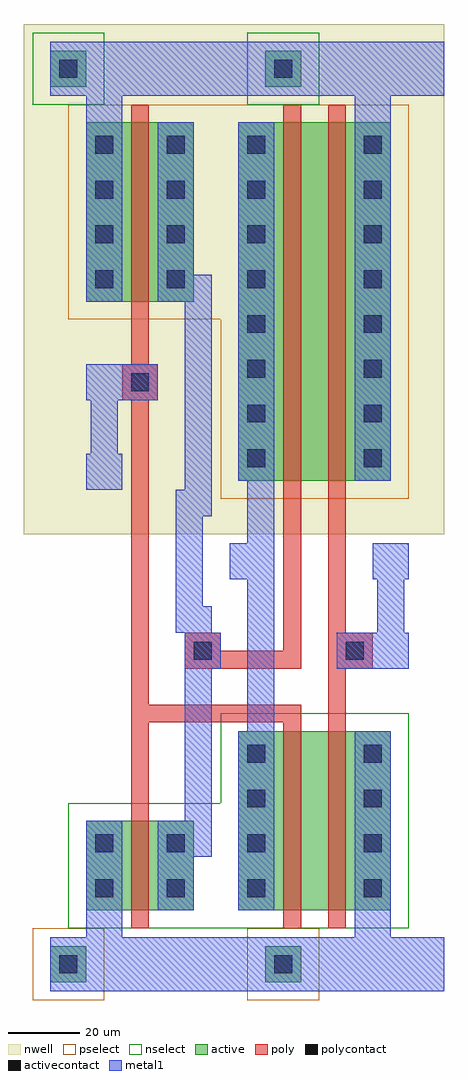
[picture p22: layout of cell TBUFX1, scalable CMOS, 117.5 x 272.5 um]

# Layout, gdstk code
import gdstk
lib = gdstk.Library(unit=1e-6, precision=1e-09)
def R(c, l, rs):  # rectangles x0, y0, x1, y1
    for r in rs: c.add(gdstk.rectangle(r[:2], r[2:], *l))
def A(c, l, x, y, w, h, nx, ny, dx, dy):  # array of equal rectangles
    R(c, l, [(x+i*dx, y+j*dy, x+i*dx+w, y+j*dy+h) for i in range(nx) for j in range(ny)])
nwell = (42, 0)
active = (43, 0)
pselect = (44, 0)
nselect = (45, 0)
poly = (46, 0)
polycontact = (47, 0)
activecontact = (48, 0)
metal1 = (49, 0)

tbufx1 = lib.new_cell('TBUFX1')
R(tbufx1, nwell, [(-12.5,120,105,262.5)])
R(tbufx1, active, [(-5,-5,5,5), (55,-5,65,5), (5,15,35,40), (47.5,15,90,65), (47.5,135,90,235), (5,185,35,235), (-5,245,5,255), (55,245,65,255)])
R(tbufx1, pselect, [(-10,-10,10,10), (50,-10,70,10), (42.5,130,95,180), (0,180,95,240)])
R(tbufx1, nselect, [(0,10,95,45), (42.5,45,95,70), (-10,240,10,260), (50,240,70,260)])
R(tbufx1, poly, [(17.5,10,22.5,67.5), (60,10,65,67.5), (72.5,10,77.5,82.5), (17.5,67.5,65,72.5), (17.5,72.5,22.5,157.5), (32.5,82.5,65,87.5), (72.5,82.5,85,92.5), (32.5,87.5,42.5,92.5), (60,87.5,65,240), (72.5,92.5,77.5,240), (15,157.5,25,167.5), (17.5,167.5,22.5,240)])
R(tbufx1, polycontact, [(35,85,40,90), (77.5,85,82.5,90), (17.5,160,22.5,165)])
A(tbufx1, activecontact, 50, 18.75, 5, 5, 1, 4, 0, 12.5)
A(tbufx1, activecontact, 82.5, 18.75, 5, 5, 1, 4, 0, 12.5)
A(tbufx1, activecontact, 50, 138.75, 5, 5, 1, 8, 0, 12.5)
A(tbufx1, activecontact, 82.5, 138.75, 5, 5, 1, 8, 0, 12.5)
A(tbufx1, activecontact, 7.5, 188.75, 5, 5, 1, 4, 0, 12.5)
A(tbufx1, activecontact, 27.5, 188.75, 5, 5, 1, 4, 0, 12.5)
R(tbufx1, activecontact, [(-2.5,-2.5,2.5,2.5), (57.5,-2.5,62.5,2.5), (7.5,18.75,12.5,23.75), (27.5,18.75,32.5,23.75), (7.5,31.25,12.5,36.25), (27.5,31.25,32.5,36.25), (-2.5,247.5,2.5,252.5), (57.5,247.5,62.5,252.5)])
R(tbufx1, metal1, [(-5,-7.5,105,7.5), (5,7.5,15,40), (80,7.5,90,65), (25,15,35,30), (47.5,15,57.5,65), (25,30,40,40), (32.5,40,40,82.5), (50,65,57.5,107.5), (32.5,82.5,42.5,92.5), (75,82.5,95,92.5), (86.25,83.75,93.75,116.25), (30,92.5,40,100), (30,100,37.5,125), (45,107.5,57.5,117.5), (85,107.5,95,117.5), (50,117.5,57.5,135), (30,125,40,132.5), (5,132.5,15,142.5), (32.5,132.5,40,185), (6.25,133.75,13.75,166.25), (47.5,135,57.5,235), (80,135,90,242.5), (5,157.5,25,167.5), (5,185,15,242.5), (25,185,40,192.5), (25,192.5,35,235), (-5,242.5,105,257.5)])

lib.write_gds('TBUFX1.gds')
